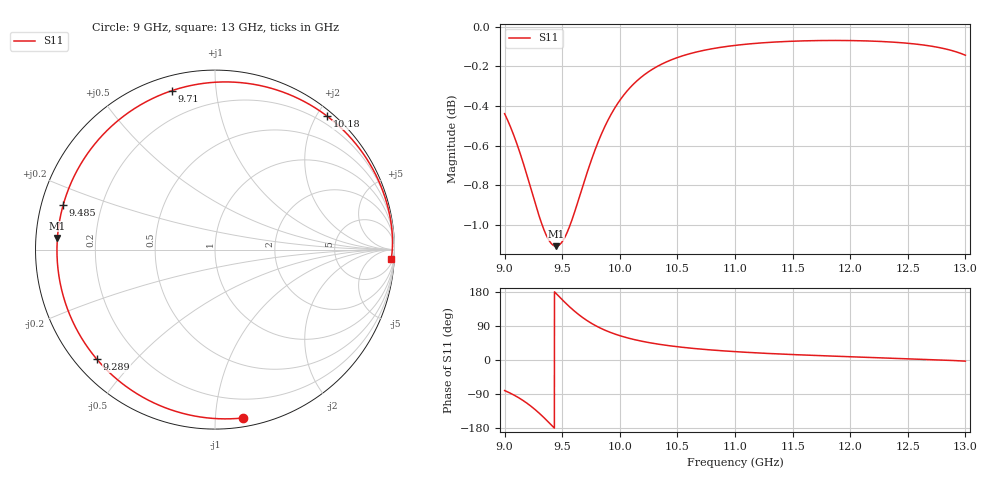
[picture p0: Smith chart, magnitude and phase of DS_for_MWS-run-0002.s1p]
! TOUCHSTONE file generated by CST DESIGN STUDIO
! Date and time: Tue Feb  4 18:11:07 2025
! Project name: C:\Work\MatlabApps\UnitCellOptimizationMatlab\CST\unitcell.cst
! Tree item: Tasks\Sweep1\SPara1\S-Parameters
! Header version: 2024
! Port assignment regex: !\s*Touchstone port\s*([0-9]+)\s*=\s*(CST MWS port|CST DES external port|CST DES block port)\s*(.+)\s* \(\"(.*)\"\)(\s*mode\s*([0-9]+))?.*
! Touchstone port assignment:
! Touchstone port 1 = CST DES external port 1 ("")
# GHz S MA R 50
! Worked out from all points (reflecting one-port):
!   4001 points, 9 GHz to 13 GHz, reference 50 ohm
!   lowest |S11| = -1.1 dB at 9.446 GHz (marker M1), VSWR 15.72, Z = 3.18 + j1.82 ohm
!   phase of S11 starts at -81 deg and turns -282 deg over the sweep
!   S11 on the Smith chart (normalised r, x): 9 GHz: 0.06, -1.18; 9.289 GHz: 0.06, -0.39; 9.485 GHz: 0.06, +0.14; 9.71 GHz: 0.07, +0.76; 10.18 GHz: 0.08, +2.14; 13 GHz: 11, -34
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9  0.9508 -80.6
9.088  0.9375 -93.7
9.161  0.9241 -107.0
9.227  0.9106 -121.5
9.289  0.898 -137.2
9.333  0.8901 -149.6
9.373  0.8846 -161.5
9.41  0.8815 -172.9
9.446  0.8804 175.8
9.485  0.8816 163.7
9.5  0.8827 159.1
9.554  0.889 143.2
9.605  0.8975 129.3
9.656  0.9072 116.8
9.71  0.9176 105.2
9.776  0.9295 92.9
9.853  0.9414 81.1
9.924  0.9504 72.2
10  0.9582 64.2
10.184  0.9711 50.0
10.329  0.9774 42.1
10.5  0.9823 35.0
10.723  0.9863 28.2
11  0.9893 22.1
11.5  0.9917 14.4
12  0.9921 8.7
12.5  0.9905 3.5
13  0.9836 -3.0
